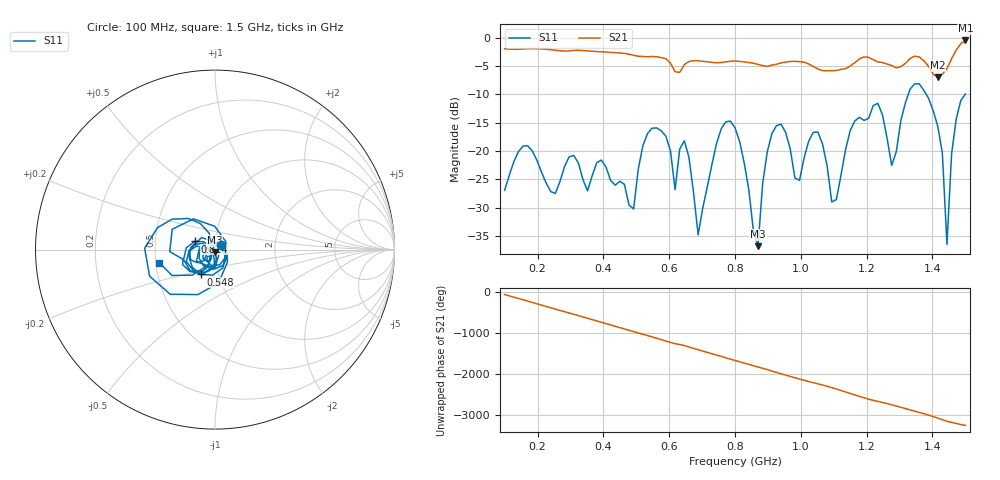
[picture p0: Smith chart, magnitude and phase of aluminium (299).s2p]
! NanoVNA-App
! Date: 2025-09-25 14:57:36
! Start: 100MHz Stop: 1,5GHz Points: 101
! S-Parameter data: F S11 S21 S12 S22
# Hz S RI R 50
!  Frequency  S11_Real  S11_Imag  S21_Real  S21_Imag  S12_Real  S12_Imag  S22_Real  S22_Imag
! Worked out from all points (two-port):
!   101 points, 100 MHz to 1.5 GHz, reference 50 ohm
!   highest |S21| = -0.45 dB at 1.5 GHz (marker M1); lowest = -6.9 dB at 1.416 GHz (marker M2)
!   |S21| within 3 dB of the highest: start of sweep to 574.2 MHz; 1.46 GHz to end of sweep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
!   lowest |S11| = -36.8 dB at 870 MHz (marker M3), VSWR 1.03, Z = 49.9 - j1.44 ohm
!   |S11| at or under -10 dB: start of sweep to 1.326 GHz; 1.381 GHz to 1.499 GHz (118 MHz wide, 8.19 % of centre)
!   S12 and S22 are empty: the file has one direction only
!   S11 on the Smith chart (normalised r, x): 100 MHz: 1.07, +0.06; 548 MHz: 0.82, -0.23; 814 MHz: 0.79, +0.07; 1.5 GHz: 0.52, -0.08
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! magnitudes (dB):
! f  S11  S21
! 100 MHz  -27.0  -1.9
! 338 MHz  -25.0  -2.2
! 492 MHz  -30.2  -3.1
! 548 MHz  -16.0  -3.3
! 576 MHz  -16.4  -3.5
! 618 MHz  -26.8  -6.0
! 646 MHz  -18.2  -4.7
! 688 MHz  -34.8  -4.1
! 800 MHz  -15.9  -4.1
! 814 MHz  -18.3  -4.2
! 870 MHz  -36.8  -4.7
! 912 MHz  -16.9  -4.8
! 996 MHz  -25.2  -4.2
! 1.038 GHz  -16.7  -5.0
! 1.094 GHz  -29.0  -5.8
! 1.22 GHz  -12.0  -3.8
! 1.276 GHz  -22.5  -4.9
! 1.346 GHz  -8.1  -3.2
! 1.416 GHz  -15.6  -6.9
! 1.444 GHz  -36.5  -5.4
! 1.458 GHz  -20.5  -3.7
! 1.5 GHz  -9.9  -0.5
